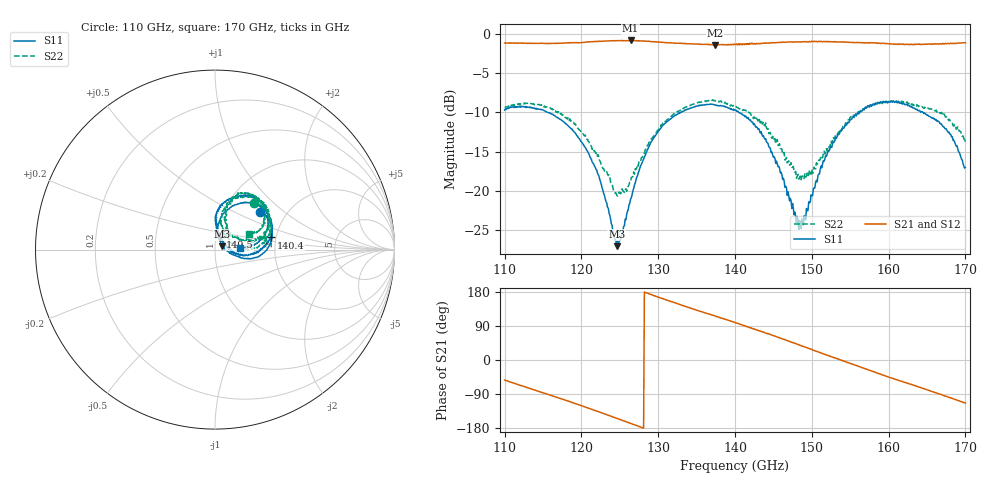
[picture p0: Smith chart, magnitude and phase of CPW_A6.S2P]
!  2-Port S-parameters saved by WinCal
! VAR NAME=CPW_A6
! VAR FILENAME=CPW_A6.S2P
! VAR DATE=10/12/2019 16:52:58
! VAR PHYS_PORTS=1,2
! VAR ObjTypeName=DATASET
! VAR IndexType=Frequency
# Hz S RI R 50
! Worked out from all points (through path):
!   601 points, 110 GHz to 170 GHz, reference 50 ohm
!   highest |S21| = -0.85 dB at 126.4 GHz (marker M1); lowest = -1.4 dB at 137.4 GHz (marker M2)
!   group delay of S21, straight-line fit = 19.6 ps
!   lowest |S11| = -27.1 dB at 124.6 GHz (marker M3), VSWR 1.09, Z = 54.1 + j2.04 ohm
!   |S11| at or under -10 dB: 115.6 GHz to 132.9 GHz (17.36 GHz wide, 14 % of centre); 140.5 GHz to 156.2 GHz (15.75 GHz wide, 10.6 % of centre); 164.5 GHz to end of sweep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
!   |S22| runs from -20.7 to -8.4 dB; largest |S21 - S12| = 0.031
!   S11 on the Smith chart (normalised r, x): 110 GHz: 1.48, +0.69; 140.4 GHz: 1.88, +0.28; 149.5 GHz: 1.04, +0.15; 170 GHz: 1.33, +0.03
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1.1e11  0.2513 0.2087  0.5278 -0.6974  0.5395 -0.6885  0.2197 0.2594
1.149e11  0.3193 0.0748  0.0617 -0.8694  0.07 -0.8655  0.309 0.1573
1.2e11  0.1989 -0.0495  -0.4465 -0.7565  -0.4323 -0.7678  0.2356 0.0132
1.222e11  0.1211 -0.0363  -0.6477 -0.6199  -0.6323 -0.6331  0.1687 0.00656
1.246e11  0.0402 0.0188  -0.8141 -0.3948  -0.8028 -0.4194  0.0841 0.0414
1.264e11  0.0155 0.0866  -0.8852 -0.1986  -0.877 -0.2186  0.0497 0.1016
1.28e11  0.0245 0.1535  -0.8978 -0.0139  -0.8985 -0.0309  0.0305 0.1637
1.3e11  0.075 0.2257  -0.8607 0.2132  -0.867 0.1871  0.0587 0.2363
1.341e11  0.2137 0.2565  -0.6388 0.5829  -0.6546 0.5622  0.1889 0.2931
1.374e11  0.3066 0.1721  -0.3774 0.7584  -0.3909 0.7576  0.2839 0.2471
1.4e11  0.3148 0.0868  -0.1314 0.8458  -0.1367 0.8463  0.3042 0.1688
1.404e11  0.3125 0.0677  -0.0959 0.8482  -0.1049 0.8504  0.3034 0.1495
1.44e11  0.2128 -0.0253  0.2853 0.8209  0.2733 0.8315  0.2611 0.0707
1.483e11  0.0493 0.0281  0.6756 0.5736  0.6694 0.5847  0.0945 0.0719
1.495e11  0.0265 0.0698  0.7552 0.4615  0.7531 0.4765  0.0754 0.0984
1.5e11  0.0253 0.0894  0.7973 0.4146  0.7856 0.4251  0.0686 0.1188
1.54e11  0.0307 0.2479  0.8861 -0.0272  0.8865 -0.00882  0.0666 0.2437
1.571e11  0.1609 0.2944  0.802 -0.3576  0.8153 -0.3383  0.1368 0.3119
1.6e11  0.2553 0.2689  0.6097 -0.6114  0.6269 -0.5957  0.2213 0.299
1.636e11  0.2938 0.1481  0.3081 -0.8032  0.3141 -0.8009  0.2669 0.2214
1.665e11  0.2685 0.0658  0.0155 -0.8575  0.0188 -0.8617  0.2779 0.1605
1.7e11  0.1403 0.0108  -0.3571 -0.801  -0.3533 -0.8019  0.1917 0.0892
